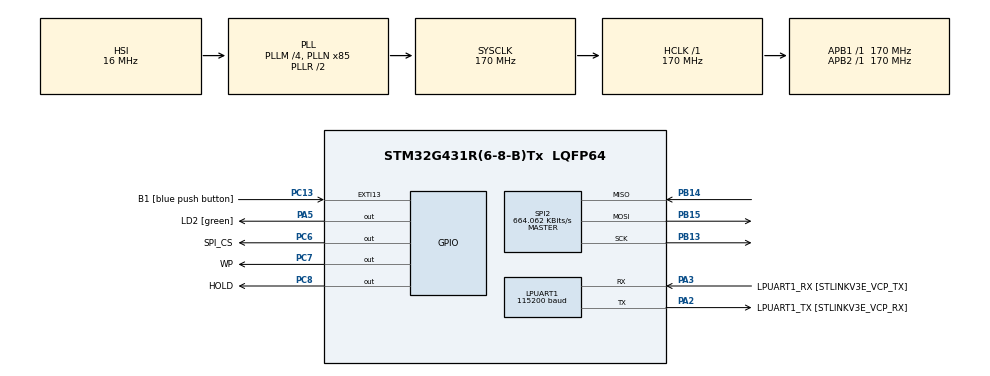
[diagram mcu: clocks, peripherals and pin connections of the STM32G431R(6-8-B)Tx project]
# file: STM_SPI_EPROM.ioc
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LPUART1.BaudRate=115200
LPUART1.WordLength=UART_WORDLENGTH_8B
Mcu.Family=STM32G4
Mcu.Name=STM32G431R(6-8-B)Tx
Mcu.Package=LQFP64
NVIC.PriorityGroup=NVIC_PRIORITYGROUP_4
PA13.GPIO_Label=T_SWDIO
PA13.Mode=Serial_Wire
PA13.Signal=SYS_JTMS-SWDIO
PA14.GPIO_Label=T_SWCLK
PA14.Mode=Serial_Wire
PA14.Signal=SYS_JTCK-SWCLK
PA2.GPIO_Label=LPUART1_TX [STLINKV3E_VCP_RX]
PA2.Mode=Asynchronous
PA2.Signal=LPUART1_TX
PA3.GPIO_Label=LPUART1_RX [STLINKV3E_VCP_TX]
PA3.Mode=Asynchronous
PA3.Signal=LPUART1_RX
PA5.GPIO_Label=LD2 [green]
PA5.Signal=GPIO_Output
PB13.Mode=Full_Duplex_Master
PB13.Signal=SPI2_SCK
PB14.Mode=Full_Duplex_Master
PB14.Signal=SPI2_MISO
PB15.Mode=Full_Duplex_Master
PB15.Signal=SPI2_MOSI
PB3.GPIO_Label=T_SWO
PB3.Signal=SYS_JTDO-SWO
PC13.GPIO_Label=B1 [blue push button]
PC13.Signal=GPXTI13
PC14-OSC32_IN.Mode=LSE-External-Oscillator
PC14-OSC32_IN.Signal=RCC_OSC32_IN
PC15-OSC32_OUT.Mode=LSE-External-Oscillator
PC15-OSC32_OUT.Signal=RCC_OSC32_OUT
PC6.GPIO_Label=SPI_CS
PC6.Signal=GPIO_Output
PC7.GPIO_Label=WP
PC7.Signal=GPIO_Output
PC8.GPIO_Label=HOLD
PC8.Signal=GPIO_Output
PF0-OSC_IN.Mode=HSE-External-Oscillator
PF0-OSC_IN.Signal=RCC_OSC_IN
PF1-OSC_OUT.Mode=HSE-External-Oscillator
PF1-OSC_OUT.Signal=RCC_OSC_OUT
ProjectManager.HeapSize=0x200
ProjectManager.StackSize=0x400
ProjectManager.TargetToolchain=MDK-ARM V5.27
RCC.ADC12Freq_Value=170000000
RCC.AHBFreq_Value=170000000
RCC.APB1Freq_Value=170000000
RCC.APB1TimFreq_Value=170000000
RCC.APB2Freq_Value=170000000
RCC.APB2TimFreq_Value=170000000
RCC.CortexFreq_Value=170000000
RCC.EXTERNAL_CLOCK_VALUE=12288000
RCC.HCLKFreq_Value=170000000
RCC.HSE_VALUE=24000000
RCC.HSI48_VALUE=48000000
RCC.HSI_VALUE=16000000
RCC.PLLM=RCC_PLLM_DIV4
RCC.PLLN=85
RCC.RTCClockSelection=RCC_RTCCLKSOURCE_LSE
RCC.SYSCLKFreq_VALUE=170000000
RCC.SYSCLKSource=RCC_SYSCLKSOURCE_PLLCLK
RCC.USBFreq_Value=170000000
RCC.VCOOutputFreq_Value=340000000
SPI2.BaudRatePrescaler=SPI_BAUDRATEPRESCALER_256
SPI2.CalculateBaudRate=664.062 KBits/s
SPI2.DataSize=SPI_DATASIZE_8BIT
SPI2.Direction=SPI_DIRECTION_2LINES
SPI2.Mode=SPI_MODE_MASTER
SPI2.VirtualType=VM_MASTER
VP_SYS_VS_DBSignals.Mode=DisableDeadBatterySignals
board=NUCLEO-G431RB

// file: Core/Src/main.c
/* USER CODE BEGIN Header */
/**
  ******************************************************************************
  * @file           : main.c
  * @brief          : Main program body
  ******************************************************************************
  * @attention
  *
  * <h2><center>&copy; Copyright (c) 2020 STMicroelectronics.
  * All rights reserved.</center></h2>
  *
  * This software component is licensed by ST under BSD 3-Clause license,
  * the "License"; You may not use this file except in compliance with the
  * License. You may obtain a copy of the License at:
  *                        opensource.org/licenses/BSD-3-Clause
  *
  ******************************************************************************
  */
/* USER CODE END Header */
#include "main.h"
#include "usart.h"
#include "spi.h"
#include "gpio.h"

/* USER CODE BEGIN Includes */
#include "stdarg.h"
#include "string.h"
#include "EEPROM.h"
/* USER CODE END Includes */

void SystemClock_Config(void);

/* USER CODE BEGIN 0 */

 void vprint(const char *fmt,va_list argp){
	char string[200];
	if(0<vsprintf(string,fmt,argp)){

		HAL_UART_Transmit(&hlpuart1,(uint8_t*)string,strlen(string),0xFFFFFF);

	}
}
void debug_printf(const char *fmt, ...){
	va_list argp;
	va_start(argp,fmt);
	vprint(fmt,argp);
	va_end(argp);

}

/* USER CODE END 0 */

int main(void)
{
  /* USER CODE BEGIN 1 */
uint8_t data_in[11] = {"KLU FDP IoT"};
uint8_t data_out[11];
  /* USER CODE END 1 */

  /* MCU Configuration--------------------------------------------------------*/

  /* Reset of all peripherals, Initializes the Flash interface and the Systick. */
  HAL_Init();

  /* Configure the system clock */
  SystemClock_Config();

  /* Initialize all configured peripherals */
  MX_GPIO_Init();
  MX_LPUART1_UART_Init();
  MX_SPI2_Init();
  /* USER CODE BEGIN 2 */
	Init_EEPROM(&hspi2);

//	HAL_GPIO_WritePin(HOLD_GPIO_Port,HOLD_Pin,1);
//	HAL_GPIO_WritePin(WP_GPIO_Port,WP_Pin,1);
	EEPROM_CS_HIGH();
	HAL_Delay(1000);
  /* USER CODE END 2 */

  /* Infinite loop */
  /* USER CODE BEGIN WHILE */
  while (1)
  {

		uint8_t buf[4];

		uint8_t stat	=   WritePage((uint8_t*)data_in,0x100,sizeof(data_in));

		if(stat == SUCESS){
			DEBUG_LOG("Write Successful");}
		else{
			DEBUG_LOG("Write Failed");}
		uint8_t stat_read = ReadPage(data_out,0x100,sizeof(data_out));
		HAL_UART_Transmit(&hlpuart1,"\n\rRead Data:",sizeof("\n\rRead Data:"),100);
		HAL_UART_Transmit(&hlpuart1,data_out,sizeof(data_out),100);
		HAL_Delay(2000);
    /* USER CODE END WHILE */

  }
}

void SystemClock_Config(void)
{
  RCC_OscInitTypeDef RCC_OscInitStruct = {0};
  RCC_ClkInitTypeDef RCC_ClkInitStruct = {0};
  RCC_PeriphCLKInitTypeDef PeriphClkInit = {0};

  /** Configure the main internal regulator output voltage
  */
  HAL_PWREx_ControlVoltageScaling(PWR_REGULATOR_VOLTAGE_SCALE1_BOOST);
  /** Initializes the RCC Oscillators according to the specified parameters
  * in the RCC_OscInitTypeDef structure.
  */
  RCC_OscInitStruct.OscillatorType = RCC_OSCILLATORTYPE_HSI;
  RCC_OscInitStruct.HSIState = RCC_HSI_ON;
  RCC_OscInitStruct.HSICalibrationValue = RCC_HSICALIBRATION_DEFAULT;
  RCC_OscInitStruct.PLL.PLLState = RCC_PLL_ON;
  RCC_OscInitStruct.PLL.PLLSource = RCC_PLLSOURCE_HSI;
  RCC_OscInitStruct.PLL.PLLM = RCC_PLLM_DIV4;
  RCC_OscInitStruct.PLL.PLLN = 85;
  RCC_OscInitStruct.PLL.PLLP = RCC_PLLP_DIV2;
  RCC_OscInitStruct.PLL.PLLQ = RCC_PLLQ_DIV2;
  RCC_OscInitStruct.PLL.PLLR = RCC_PLLR_DIV2;
  if (HAL_RCC_OscConfig(&RCC_OscInitStruct) != HAL_OK)
  {
    Error_Handler();
  }
  /** Initializes the CPU, AHB and APB buses clocks
  */
  RCC_ClkInitStruct.ClockType = RCC_CLOCKTYPE_HCLK|RCC_CLOCKTYPE_SYSCLK
                              |RCC_CLOCKTYPE_PCLK1|RCC_CLOCKTYPE_PCLK2;
  RCC_ClkInitStruct.SYSCLKSource = RCC_SYSCLKSOURCE_PLLCLK;
  RCC_ClkInitStruct.AHBCLKDivider = RCC_SYSCLK_DIV1;
  RCC_ClkInitStruct.APB1CLKDivider = RCC_HCLK_DIV1;
  RCC_ClkInitStruct.APB2CLKDivider = RCC_HCLK_DIV1;

  if (HAL_RCC_ClockConfig(&RCC_ClkInitStruct, FLASH_LATENCY_4) != HAL_OK)
  {
    Error_Handler();
  }
  /** Initializes the peripherals clocks
  */
  PeriphClkInit.PeriphClockSelection = RCC_PERIPHCLK_LPUART1;
  PeriphClkInit.Lpuart1ClockSelection = RCC_LPUART1CLKSOURCE_PCLK1;
  if (HAL_RCCEx_PeriphCLKConfig(&PeriphClkInit) != HAL_OK)
  {
    Error_Handler();
  }
}

void Error_Handler(void)
{
}

/************************ (C) COPYRIGHT STMicroelectronics *****END OF FILE****/
